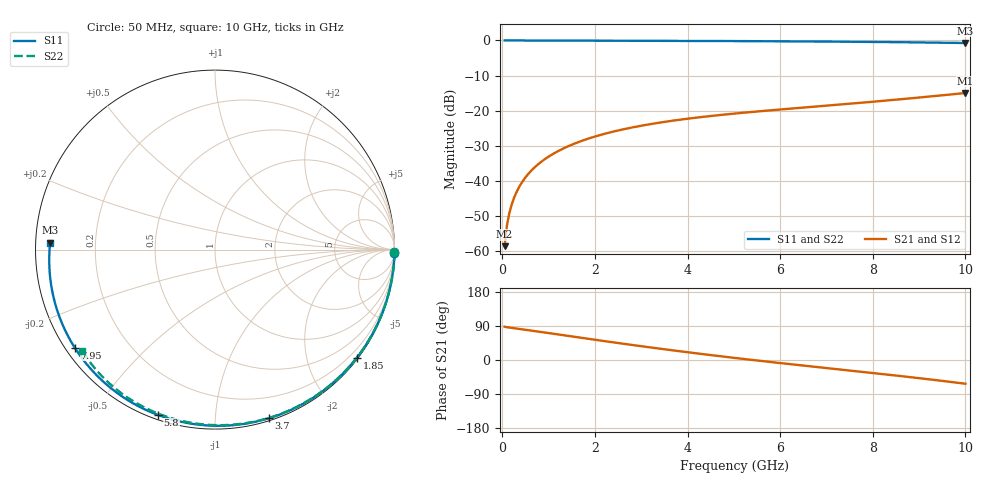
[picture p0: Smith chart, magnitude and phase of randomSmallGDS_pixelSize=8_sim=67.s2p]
! freq	dB(S11)	phase(S11)	dB(S12)	phase(S12)
!  dB(S21)	phase(S21)	dB(S22)	phase(S22)
!S-par simulation data
#  GHz  S  DB  R 50
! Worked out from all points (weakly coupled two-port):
!   200 points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, 50 MHz to 10 GHz, reference 50 ohm
!   highest |S21| = -14.97 dB at 10 GHz (marker M1); lowest = -58.6 dB at 50 MHz (marker M2)
!   lowest |S11| = -0.7 dB at 10 GHz (marker M3), VSWR 23.78, Z = 2.1 + j1.03 ohm
!   |S11| at or under -10 dB: nowhere
!   |S22| runs from -0.6 to 0.0 dB; largest |S21 - S12| = 0
!   S11 on the Smith chart (normalised r, x): 50 MHz: open; 1.85 GHz: 0.03, -2.96; 3.7 GHz: 0.02, -1.37; 5.8 GHz: 0.02, -0.71; 7.95 GHz: 0.03, -0.31; 10 GHz: 0.04, +0.02
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0.05  -0.00 -1.0  -58.62 87.8  -58.62 87.8  -0.00 -0.8
0.1  -0.00 -2.1  -52.74 86.5  -52.74 86.5  -0.00 -1.7
0.15  -0.00 -3.1  -49.32 85.7  -49.32 85.7  -0.00 -2.5
0.2  -0.00 -4.1  -46.88 84.9  -46.88 84.9  -0.00 -3.4
0.35  -0.01 -7.2  -42.09 82.6  -42.09 82.6  -0.00 -5.9
0.5  -0.01 -10.3  -39.03 80.1  -39.03 80.1  -0.01 -8.4
0.7  -0.02 -14.3  -36.14 76.5  -36.14 76.5  -0.01 -11.7
1  -0.03 -20.4  -33.10 71.2  -33.10 71.2  -0.02 -16.6
1.35  -0.04 -27.4  -30.58 64.9  -30.58 64.9  -0.03 -22.3
1.75  -0.05 -35.4  -28.45 57.8  -28.45 57.8  -0.04 -28.8
1.85  -0.05 -37.3  -28.01 56.0  -28.01 56.0  -0.04 -30.4
2.65  -0.08 -52.8  -25.21 42.2  -25.21 42.2  -0.07 -43.1
3.4  -0.11 -66.9  -23.41 29.9  -23.41 29.9  -0.09 -54.7
3.7  -0.12 -72.3  -22.82 25.2  -22.82 25.2  -0.10 -59.2
4.35  -0.15 -84.0  -21.75 15.2  -21.75 15.2  -0.12 -68.7
5.05  -0.18 -96.2  -20.79 5.0  -20.79 5.0  -0.15 -78.7
5.8  -0.22 -109.0  -19.90 -5.4  -19.90 -5.4  -0.19 -89.1
6.7  -0.29 -124.1  -18.91 -17.3  -18.91 -17.3  -0.24 -101.0
7.95  -0.41 -145.1  -17.52 -33.6  -17.52 -33.6  -0.35 -117.0
8.35  -0.46 -151.9  -17.06 -39.0  -17.06 -39.0  -0.39 -122.1
9.2  -0.59 -167.1  -16.02 -50.7  -16.02 -50.7  -0.50 -132.6
10  -0.73 177.6  -14.97 -62.6  -14.97 -62.6  -0.62 -142.5
